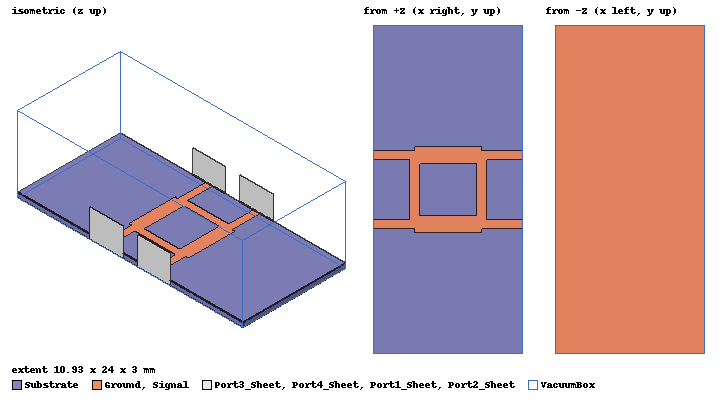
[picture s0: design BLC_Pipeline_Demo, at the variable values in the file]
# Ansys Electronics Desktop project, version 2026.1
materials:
  vacuum: permittivity=1
  RO4360G2_Dk6p4_tand0038: permittivity=6.4 dielectric_loss_tangent=0.0038
  copper: permeability=0.999991 conductivity=58000000

design BLC_Pipeline_Demo (HFSS, HFSS Modal Network, model units mm)
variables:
  Lmain = 4.927mm
  Lbranch = 5.061mm
  Wmain = 1.289mm
  Wbranch = 0.725mm
  Wfeed = 0.705mm
  Lfeed = 3mm
  Hsub = 0.508mm
  BoardW = 24mm
  AirH = 8mm
  PortW = 3.6mm
  PortH = 3mm
  Xleft = -Lmain/2
  Xright = Lmain/2
  XportL = -Lmain/2-Lfeed
  XportR = Lmain/2+Lfeed
  Ytop = Lbranch/2
  Ybot = -Lbranch/2
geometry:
  VacuumBox [vacuum] = box(corner=(XportL, -BoardW/2, 0mm), size=(Lmain+2*Lfeed, BoardW, AirH))
  Substrate [RO4360G2_Dk6p4_tand0038] = box(corner=(XportL, -BoardW/2, 0mm), size=(Lmain+2*Lfeed, BoardW, Hsub))
  Ground [copper] = rectangle(corner=(XportL, -BoardW/2, 0mm), x_size=Lmain+2*Lfeed, y_size=BoardW)
  Signal [copper] = rectangle(corner=(XportL, Ytop-Wfeed/2, Hsub), x_size=Lfeed, y_size=Wfeed)
  Feed_P2 = rectangle(corner=(Xright, Ytop-Wfeed/2, Hsub), x_size=Lfeed, y_size=Wfeed)
  Feed_P3 = rectangle(corner=(Xright, Ybot-Wfeed/2, Hsub), x_size=Lfeed, y_size=Wfeed)
  Feed_P4 = rectangle(corner=(XportL, Ybot-Wfeed/2, Hsub), x_size=Lfeed, y_size=Wfeed)
  Top_Main = rectangle(corner=(Xleft, Ytop-Wmain/2, Hsub), x_size=Lmain, y_size=Wmain)
  Bot_Main = rectangle(corner=(Xleft, Ybot-Wmain/2, Hsub), x_size=Lmain, y_size=Wmain)
  Left_Branch = rectangle(corner=(Xleft-Wbranch/2, Ybot, Hsub), x_size=Wbranch, y_size=Lbranch)
  Right_Branch = rectangle(corner=(Xright-Wbranch/2, Ybot, Hsub), x_size=Wbranch, y_size=Lbranch)
  Signal.unite(Feed_P2, Feed_P3, Feed_P4, Top_Main, Bot_Main, Left_Branch, Right_Branch)
  Port1_Sheet = rectangle(corner=(XportL, Ytop-PortW/2, 0mm), y_size=PortW, z_size=PortH)
  Port2_Sheet = rectangle(corner=(XportR, Ytop-PortW/2, 0mm), y_size=PortW, z_size=PortH)
  Port3_Sheet = rectangle(corner=(XportR, Ybot-PortW/2, 0mm), y_size=PortW, z_size=PortH)
  Port4_Sheet = rectangle(corner=(XportL, Ybot-PortW/2, 0mm), y_size=PortW, z_size=PortH)
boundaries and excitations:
  PEC_Ground: Perfect E Objects=Ground
  PEC_Signal: Perfect E Objects=Signal
  P1: Wave Port Objects=Port1_Sheet WavePortType=Default NumModes=1 Modes{Mode1{IntLine{(-5.4635, 2.5305, 0.508) -> (-5.4635, 2.5305, 0)} CharImp=Zpi RenormImp=50ohm}}
  P2: Wave Port Objects=Port2_Sheet WavePortType=Default NumModes=1 Modes{Mode1{IntLine{(5.4635, 2.5305, 0.508) -> (5.4635, 2.5305, 0)} CharImp=Zpi RenormImp=50ohm}}
  P3: Wave Port Objects=Port3_Sheet WavePortType=Default NumModes=1 Modes{Mode1{IntLine{(5.4635, -2.5305, 0.508) -> (5.4635, -2.5305, 0)} CharImp=Zpi RenormImp=50ohm}}
  P4: Wave Port Objects=Port4_Sheet WavePortType=Default NumModes=1 Modes{Mode1{IntLine{(-5.4635, -2.5305, 0.508) -> (-5.4635, -2.5305, 0)} CharImp=Zpi RenormImp=50ohm}}
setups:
  Setup1: HfssDriven Frequency=8GHz MaxDeltaS=0.02 MaximumPasses=10 MinimumPasses=2 MinimumConvergedPasses=2 PercentRefinement=30 BasisOrder=1 PortAccuracy=2 DrivenSolverType="Direct Solver"
    sweep Sweep_Band: 7.25GHz to 8.4GHz step 0.025GHz; Type=Interpolating InterpTolerance=0.5 InterpMaxSolns=250 InterpUsePortImped=false PassivityErrorTolerance=0.0001
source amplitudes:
  P1:1: 1W 0deg
  P2:1, P3:1, P4:1: 0W 0deg
